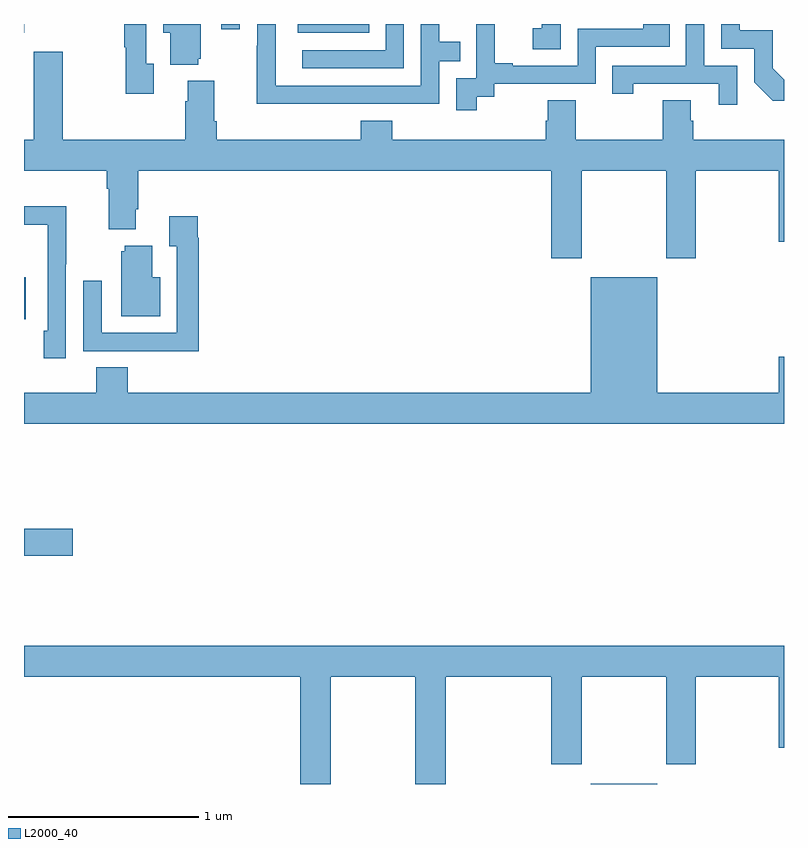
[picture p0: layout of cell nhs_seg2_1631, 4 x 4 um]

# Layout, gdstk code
import gdstk
lib = gdstk.Library(unit=1e-6, precision=1e-09)
def R(c, l, rs):  # rectangles x0, y0, x1, y1
    for r in rs: c.add(gdstk.rectangle(r[:2], r[2:], *l))
def P(c, l, *ps):  # polygons
    for p in ps: c.add(gdstk.Polygon(p, *l))
L2000_40 = (2000, 40)

nhs_seg2_1631 = lib.new_cell('nhs_seg2_1631')
R(nhs_seg2_1631, L2000_40, [(199.982,585.8,200.332,585.802), (197,587.002,197.257,587.144), (197,588.247,197.008,588.466), (197,589.754,197.002,589.8), (198.44,589.754,198.818,589.8), (198.039,589.773,198.135,589.8)])
P(nhs_seg2_1631, L2000_40, [(198.999,589.8),(198.903,589.8),(198.903,589.662),(198.465,589.662),(198.465,589.566),(198.999,589.566)],
  [(197.918,589.617),(197.929,589.617),(197.929,589.8),(197.732,589.8),(197.732,589.754),(197.771,589.754),(197.771,589.586),(197.918,589.586)],
  [(197.683,589.59),(197.643,589.59),(197.643,589.8),(197.527,589.8),(197.527,589.678),(197.535,589.678),(197.535,589.434),(197.683,589.434)],
  [(201,589.506),(200.94,589.566),(200.94,589.767),(200.767,589.767),(200.767,589.8),(200.67,589.8),(200.67,589.671),(200.844,589.671),(200.844,589.494),(200.942,589.397),(201,589.397)],
  [(198.689,589.38),(199.185,589.38),(199.185,589.605),(199.295,589.605),(199.295,589.706),(199.185,589.706),(199.185,589.8),(199.089,589.8),(199.089,589.476),(198.324,589.476),(198.324,589.8),(198.228,589.8),(198.228,589.685),(198.226,589.685),(198.226,589.379),(198.689,589.379)],
  [(199.384,589.417),(199.476,589.417),(199.476,589.485),(200.01,589.485),(200.01,589.68),(200.399,589.68),(200.399,589.8),(200.259,589.8),(200.259,589.776),(199.914,589.776),(199.914,589.581),(199.573,589.581),(199.573,589.594),(199.478,589.594),(199.478,589.8),(199.379,589.8),(199.379,589.745),(199.38,589.745),(199.38,589.515),(199.275,589.515),(199.275,589.347),(199.384,589.347)],
  [(199.824,589.8),(199.726,589.8),(199.726,589.777),(199.677,589.777),(199.677,589.668),(199.824,589.668)],
  [(200.754,589.581),(200.58,589.581),(200.58,589.8),(200.484,589.8),(200.484,589.581),(200.095,589.581),(200.095,589.434),(200.206,589.434),(200.206,589.485),(200.657,589.485),(200.657,589.374),(200.754,589.374)],
  [(199.935,589.028),(200.38,589.028),(200.38,588.567),(200.535,588.567),(200.535,589.028),(200.972,589.028),(200.972,588.654),(201,588.654),(201,589.192),(200.522,589.192),(200.522,589.29),(200.509,589.29),(200.509,589.4),(200.362,589.4),(200.362,589.192),(199.905,589.192),(199.905,589.4),(199.757,589.4),(199.757,589.29),(199.745,589.29),(199.745,589.192),(198.938,589.192),(198.938,589.291),(198.773,589.291),(198.773,589.192),(198.014,589.192),(198.014,589.288),(198.001,589.288),(198.001,589.501),(197.861,589.501),(197.861,589.394),(197.849,589.394),(197.849,589.192),(197.205,589.192),(197.205,589.654),(197.05,589.654),(197.05,589.192),(197,589.192),(197,589.028),(197.435,589.028),(197.435,588.932),(197.447,588.932),(197.447,588.719),(197.587,588.719),(197.587,588.826),(197.6,588.826),(197.6,589.028),(199.775,589.028),(199.775,588.567),(199.935,588.567)],
  [(197.22,588.535),(197.223,588.535),(197.223,588.842),(197,588.842),(197,588.744),(197.124,588.744),(197.124,588.186),(197.105,588.186),(197.105,588.042),(197.22,588.042)],
  [(197.921,588.674),(197.914,588.674),(197.914,588.787),(197.765,588.787),(197.765,588.631),(197.805,588.631),(197.805,588.174),(197.409,588.174),(197.409,588.448),(197.313,588.448),(197.313,588.078),(197.629,588.078),(197.629,588.077),(197.921,588.077)],
  [(197.716,588.466),(197.674,588.466),(197.674,588.634),(197.531,588.634),(197.531,588.603),(197.513,588.603),(197.513,588.263),(197.716,588.263)],
  [(201,588.049),(200.972,588.049),(200.972,587.86),(200.332,587.86),(200.332,588.466),(199.982,588.466),(199.982,587.86),(197.546,587.86),(197.546,587.993),(197.381,587.993),(197.381,587.86),(197,587.86),(197,587.696),(201,587.696)],
  [(198.615,586.364),(199.06,586.364),(199.06,585.8),(199.22,585.8),(199.22,586.364),(199.775,586.364),(199.775,585.903),(199.935,585.903),(199.935,586.364),(200.38,586.364),(200.38,585.903),(200.535,585.903),(200.535,586.364),(200.972,586.364),(200.972,585.99),(201,585.99),(201,586.528),(197,586.528),(197,586.364),(198.455,586.364),(198.455,585.8),(198.615,585.8)])

lib.write_gds('nhs_seg2_1631.gds')
